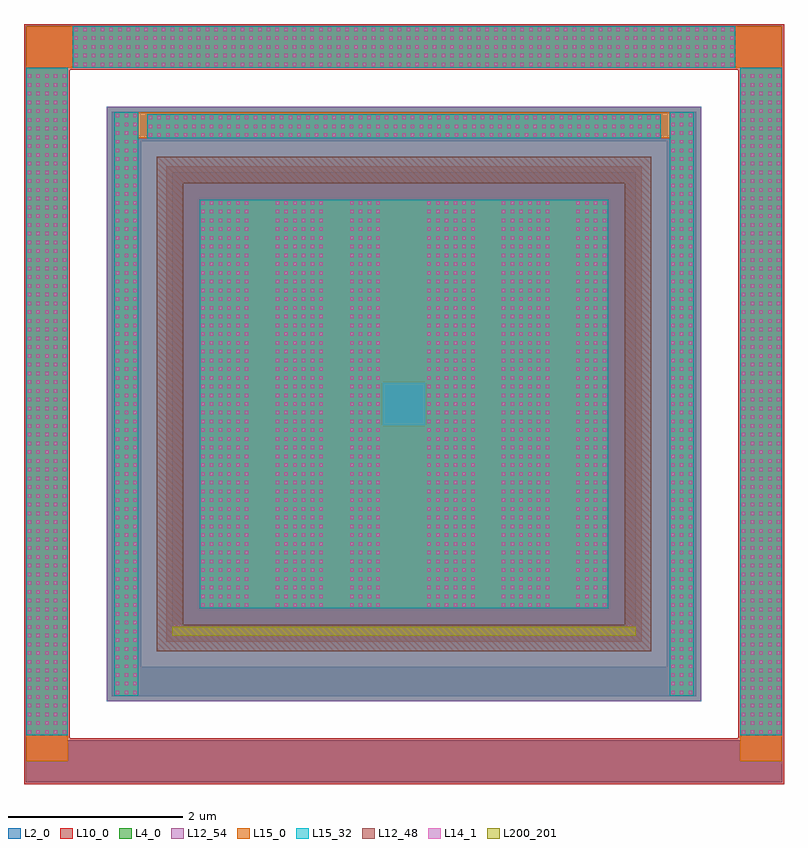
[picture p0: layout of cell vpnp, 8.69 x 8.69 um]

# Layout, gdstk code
import gdstk
lib = gdstk.Library(unit=1e-6, precision=1e-09)
def R(c, l, rs):  # rectangles x0, y0, x1, y1
    for r in rs: c.add(gdstk.rectangle(r[:2], r[2:], *l))
def A(c, l, x, y, w, h, nx, ny, dx, dy):  # array of equal rectangles
    R(c, l, [(x+i*dx, y+j*dy, x+i*dx+w, y+j*dy+h) for i in range(nx) for j in range(ny)])
L2_0 = (2, 0)
L4_0 = (4, 0)
L10_0 = (10, 0)
L12_48 = (12, 48)
L12_54 = (12, 54)
L14_1 = (14, 1)
L15_0 = (15, 0)
L15_32 = (15, 32)
L200_201 = (200, 201)

vpnp = lib.new_cell('vpnp')
R(vpnp, L2_0, [(-10.829,-2.859,-2.177,-2.379), (-10.829,-2.379,-10.349,5.313), (-2.657,-2.379,-2.177,5.313), (-9.849,-1.879,-3.157,-1.539), (-9.849,-1.539,-9.509,4.473), (-3.497,-1.539,-3.157,4.473), (-9.153,-1.183,-3.853,4.117), (-9.849,4.473,-3.157,4.813), (-10.829,5.313,-2.177,5.793)])
R(vpnp, L4_0, [(-9.905,-1.935,-3.101,4.869)])
R(vpnp, L10_0, [(-10.85,-2.88,-2.156,-2.358), (-10.85,-2.358,-10.328,5.292), (-2.678,-2.358,-2.156,5.292), (-9.223,-1.253,-3.783,4.187), (-10.85,5.292,-2.156,5.814)])
R(vpnp, L12_48, [(-9.334,-1.364,-3.672,-1.058), (-9.334,-1.058,-9.028,3.992), (-3.978,-1.058,-3.672,3.992), (-9.334,3.992,-3.672,4.298)])
R(vpnp, L12_54, [(-9.905,-1.935,-3.101,4.869)])
A(vpnp, L14_1, -10.809, -2.303, 0.04, 0.04, 5, 76, 0.1, 0.1)
A(vpnp, L14_1, -2.637, -2.303, 0.04, 0.04, 5, 76, 0.1, 0.1)
A(vpnp, L14_1, -9.799, -1.853, 0.04, 0.04, 3, 67, 0.1, 0.1)
A(vpnp, L14_1, -3.447, -1.853, 0.04, 0.04, 3, 67, 0.1, 0.1)
A(vpnp, L14_1, -8.823, -0.853, 0.04, 0.04, 6, 47, 0.1, 0.1)
A(vpnp, L14_1, -7.971, -0.853, 0.04, 0.04, 6, 47, 0.1, 0.1)
A(vpnp, L14_1, -7.119, -0.853, 0.04, 0.04, 4, 47, 0.1, 0.1)
A(vpnp, L14_1, -6.235, -0.853, 0.04, 0.04, 6, 47, 0.1, 0.1)
A(vpnp, L14_1, -5.383, -0.853, 0.04, 0.04, 6, 47, 0.1, 0.1)
A(vpnp, L14_1, -4.531, -0.853, 0.04, 0.04, 4, 47, 0.1, 0.1)
A(vpnp, L14_1, -9.423, 4.523, 0.04, 0.04, 59, 3, 0.1, 0.1)
A(vpnp, L14_1, -10.273, 5.333, 0.04, 0.04, 76, 5, 0.1, 0.1)
R(vpnp, L15_0, [(-10.827,-2.619,-10.351,5.791), (-2.655,-2.619,-2.179,5.791), (-9.817,-1.871,-9.541,4.805), (-3.465,-1.871,-3.189,4.805), (-8.841,-0.871,-4.165,1.217), (-8.841,1.217,-6.753,1.717), (-6.253,1.217,-4.165,1.717), (-8.841,1.717,-4.165,3.805), (-9.541,4.505,-3.465,4.805), (-10.351,5.315,-2.655,5.791)])
R(vpnp, L15_32, [(-10.827,-2.321,-10.351,5.315), (-2.655,-2.321,-2.179,5.315), (-9.817,-1.871,-9.541,4.805), (-3.465,-1.871,-3.189,4.805), (-8.841,-0.871,-4.165,3.805), (-9.441,4.505,-3.565,4.781), (-10.291,5.315,-2.715,5.791)])
R(vpnp, L200_201, [(-9.153,-1.183,-3.853,-1.083)])

lib.write_gds('vpnp.gds')
